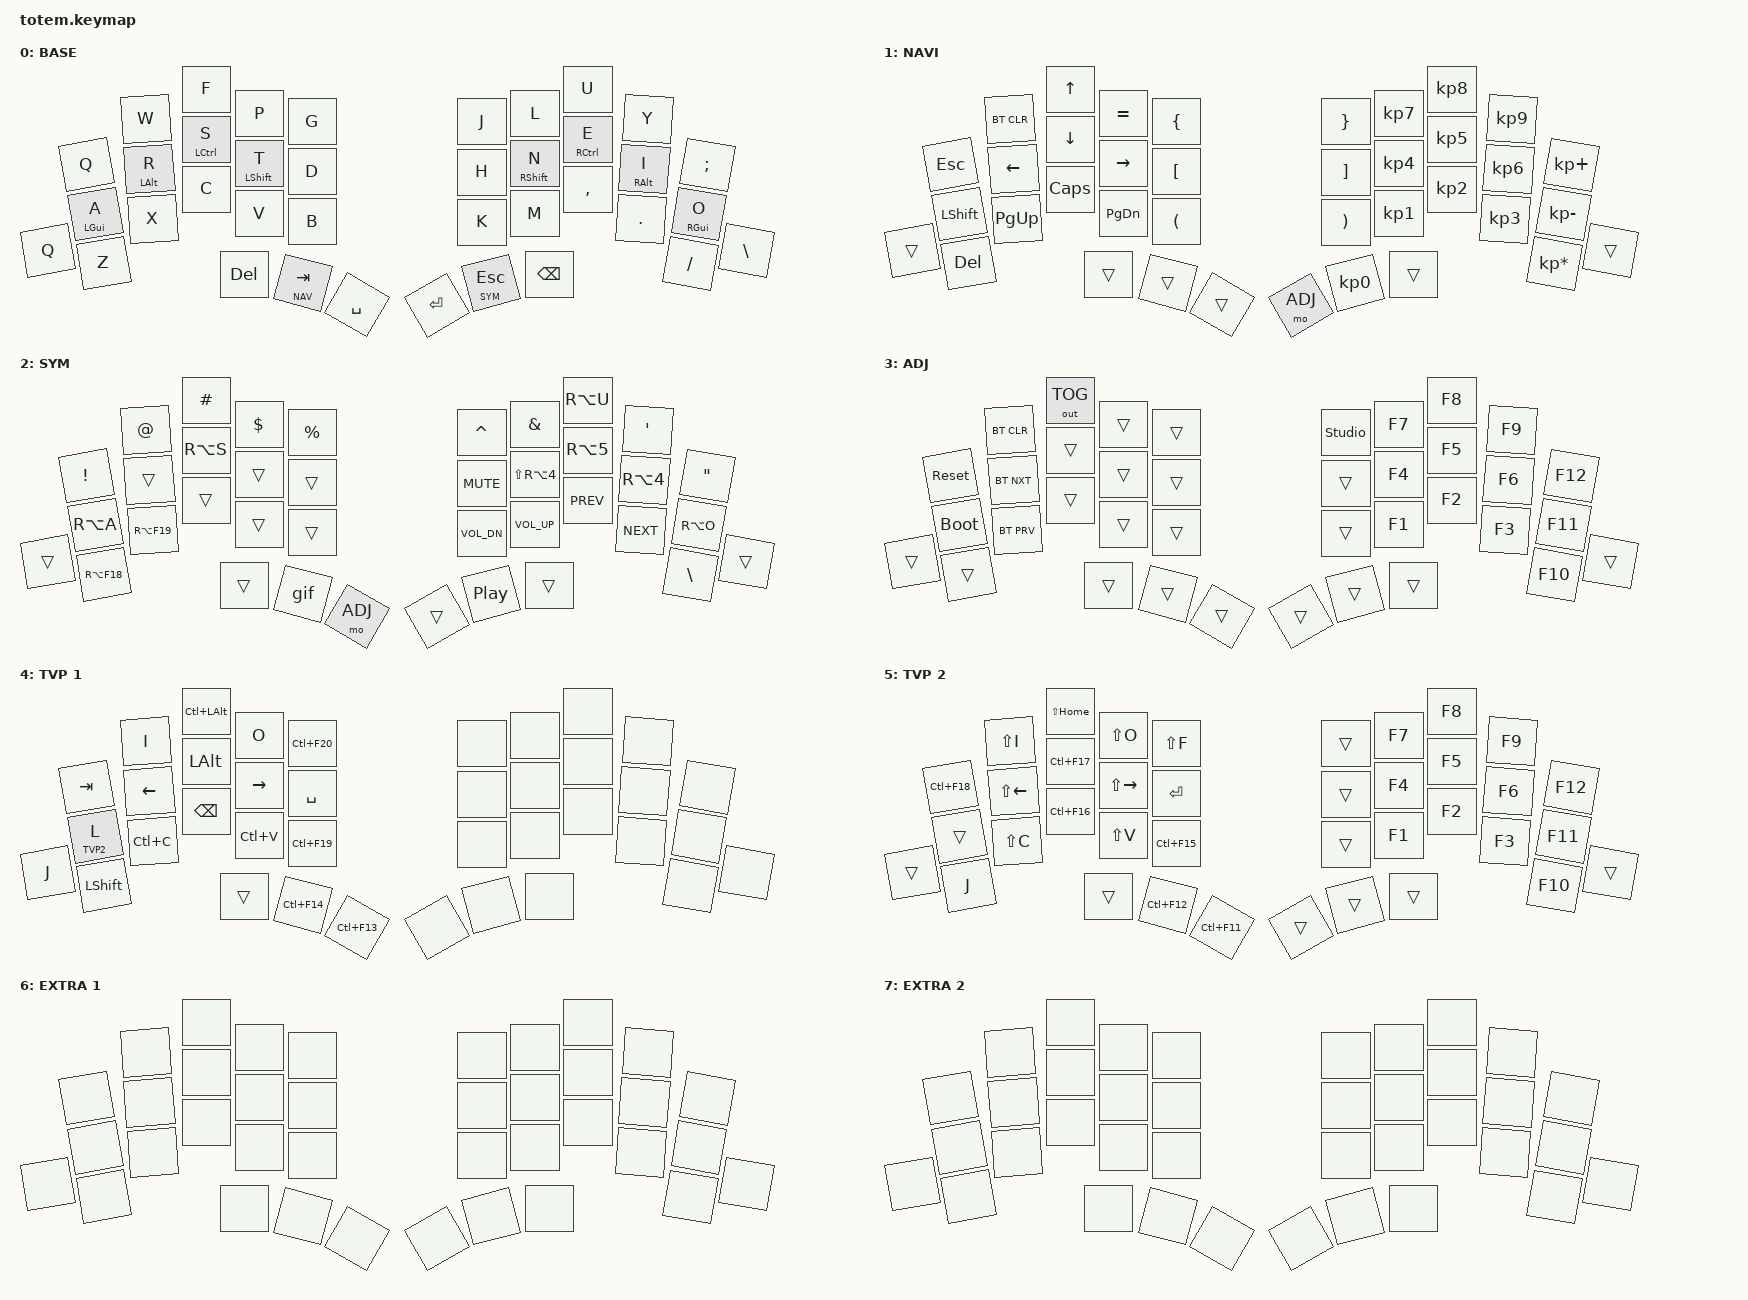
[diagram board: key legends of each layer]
//
//                                                        ▀▀▀▀▀     ▀▀▀▀▀          ▀▀█▀▀
//                                                        ▄▀▀▀▄  ▄  ▄▀▀▀▄  ▄  ▄▀▀▀▄  █  ▄▀▀▀▄
//                                                        █   █  █  █   █  █  █   █  █  █   █
//                                                         ▀▀▀   █   ▀▀▀   █   ▀▀▀   ▀   ▀▀▀
//                                                               █      ▄▄▄█▄▄▄    █   █  
//                                                               ▀      █  █  █     █▄█
//                                                             ▀▀▀▀▀    █  █  █      ▀
//                                                                      ▀  ▀  ▀
//
// ▄▄▄▄▄▄▄▄▄▄▄▄▄▄▄▄▄▄▄▄▄▄▄▄▄▄▄▄▄▄▄▄▄▄▄▄▄▄▄▄▄▄▄▄▄▄▄▄▄▄▄▄▄▄▄▄▄▄▄▄▄▄▄▄▄▄▄▄▄▄▄▄▄▄▄▄▄▄▄▄▄▄▄▄▄▄▄▄▄▄▄▄▄▄▄▄▄▄▄▄▄▄▄▄▄▄▄▄▄▄▄▄▄▄▄▄▄▄▄▄▄▄▄▄▄▄▄▄▄▄▄▄▄▄▄▄▄▄▄▄▄▄▄▄▄▄▄▄▄
       

#include <behaviors.dtsi>
#include <dt-bindings/zmk/keys.h>
#include <dt-bindings/zmk/bt.h>
#include <dt-bindings/zmk/outputs.h>

#define BASE 0
#define NAV  1
#define SYM  2
#define ADJ  3
#define TVP1 4
#define TVP2 5
#define EXTRA1 6
#define EXTRA2 7

&mt {
  quick-tap-ms = <100>;
  global-quick-tap;
  flavor = "tap-preferred";
  tapping-term-ms = <170>;
};

/ {
     combos {
            compatible = "zmk,combos";
            combo_esc {
                timeout-ms = <50>;
                key-positions = <0 1>;
                bindings = <&kp ESC>;
            };
            combo_tvp {
                timeout-ms = <100>;
                key-positions = <11 12 13>;
                bindings = <&tog TVP1>;
            };
    };

    macros {
        gif: gif {
            label = "giphy";
            compatible = "zmk,behavior-macro";
            #binding-cells = <0>;
            bindings
                = <&macro_press &kp LSHFT>
                , <&macro_tap &kp N2>
                , <&macro_release &kp LSHFT>
                , <&macro_tap &kp G &kp I &kp F>
                ;
        };
    };

        keymap {
                compatible = "zmk,keymap";
// ▄▄▄▄▄▄▄▄▄▄▄▄▄▄▄▄▄▄▄▄▄▄▄▄▄▄▄▄▄▄▄▄▄▄▄▄▄▄▄▄▄▄▄▄▄▄▄▄▄▄▄▄▄▄▄▄▄▄▄▄▄▄▄▄▄▄▄▄▄▄▄▄▄▄▄▄▄▄▄▄▄▄▄▄▄▄▄▄▄▄▄▄▄▄▄▄▄▄▄▄▄▄▄▄▄▄▄▄▄▄▄▄▄▄▄▄▄▄▄▄▄▄▄▄▄▄▄▄▄▄▄▄▄▄▄▄▄▄▄▄▄▄▄▄▄▄▄▄▄

                base_layer {
// ┏━━━━━━━━━━━━━━━━━━━━━━━━━━━━━━━━━━━━━━━┓
label= "BASE"                              ;
// ┗━━━━━━━━━━━━━━━━━━━━━━━━━━━━━━━━━━━━━━━┛
//             ┏━━━━━━━━━━━┳━━━━━━━━━━━┳━━━━━━━━━━━┳━━━━━━━━━━━┳━━━━━━━━━━━┓   ┏━━━━━━━━━━━┳━━━━━━━━━━━┳━━━━━━━━━━━┳━━━━━━━━━━━┳━━━━━━━━━━━┓
//             ┃     Q     ┃     W     ┃     F     ┃     P     ┃     G     ┃   ┃     J     ┃     L     ┃     U     ┃     Y     ┃     ;     ┃
//             ┣━━━━━━━━━━━╋━━━━━━━━━━━╋━━━━━━━━━━━╋━━━━━━━━━━━╋━━━━━━━━━━━┫   ┣━━━━━━━━━━━╋━━━━━━━━━━━╋━━━━━━━━━━━╋━━━━━━━━━━━╋━━━━━━━━━━━┫
//             ┃     A     ┃     R     ┃     S     ┃     T     ┃     D     ┃   ┃     H     ┃     N     ┃     E     ┃     I     ┃     O     ┃
// ┏━━━━━━━━━━━╋━━━━━━━━━━━╋━━━━━━━━━━━╋━━━━━━━━━━━╋━━━━━━━━━━━╋━━━━━━━━━━━┫   ┣━━━━━━━━━━━╋━━━━━━━━━━━╋━━━━━━━━━━━╋━━━━━━━━━━━╋━━━━━━━━━━━╋━━━━━━━━━━━┓
// ┃     Q     ┃     Z     ┃     X     ┃     C     ┃     V     ┃     B     ┃   ┃     K     ┃     M     ┃     ,     ┃     .     ┃     /     ┃     \     ┃
// ┗━━━━━━━━━━━┻━━━━━━━━━━━┻━━━━━━━━━━━╋━━━━━━━━━━━╋━━━━━━━━━━━╋━━━━━━━━━━━┫   ┣━━━━━━━━━━━╋━━━━━━━━━━━╋━━━━━━━━━━━╋━━━━━━━━━━━┻━━━━━━━━━━━┻━━━━━━━━━━━┛
//                                     ┃    DEL    ┃    TAB    ┃    SPC    ┃   ┃   ENTER   ┃           ┃   BSPC    ┃
//                                     ┗━━━━━━━━━━━┻━━━━━━━━━━━┻━━━━━━━━━━━┛   ┗━━━━━━━━━━━┻━━━━━━━━━━━┻━━━━━━━━━━━┛
 bindings = <
// ╷           ╷           ╷           ╷           ╷           ╷           ╷   ╷           ╷           ╷           ╷           ╷           ╷           ╷

                &kp Q       &kp W       &kp F       &kp P       &kp G           &kp J       &kp L       &kp U       &kp Y       &kp SEMI
                &mt LGUI A  &mt LALT R  &mt LCTRL S &mt LSHFT T &kp D           &kp H       &mt RSHFT N &mt RCTRL E &mt RALT I  &mt RGUI O
    &kp Q       &kp Z       &kp X       &kp C       &kp V       &kp B           &kp K       &kp M       &kp COMMA   &kp DOT     &kp FSLH    &kp BSLH
                                        &kp DEL   &lt NAV TAB   &kp SPACE       &kp RET   &lt SYM ESC   &kp BSPC
                        >;
                };

// ▄▄▄▄▄▄▄▄▄▄▄▄▄▄▄▄▄▄▄▄▄▄▄▄▄▄▄▄▄▄▄▄▄▄▄▄▄▄▄▄▄▄▄▄▄▄▄▄▄▄▄▄▄▄▄▄▄▄▄▄▄▄▄▄▄▄▄▄▄▄▄▄▄▄▄▄▄▄▄▄▄▄▄▄▄▄▄▄▄▄▄▄▄▄▄▄▄▄▄▄▄▄▄▄▄▄▄▄▄▄▄▄▄▄▄▄▄▄▄▄▄▄▄▄▄▄▄▄▄▄▄▄▄▄▄▄▄▄▄▄▄▄▄▄▄▄▄▄▄


                nav_layer {
// ┏━━━━━━━━━━━━━━━━━━━━━━━━━━━━━━━━━━━━━━━┓
label= "NAVI"                              ;
// ┗━━━━━━━━━━━━━━━━━━━━━━━━━━━━━━━━━━━━━━━┛
//             ┏━━━━━━━━━━━┳━━━━━━━━━━━┳━━━━━━━━━━━┳━━━━━━━━━━━┳━━━━━━━━━━━┓   ┏━━━━━━━━━━━┳━━━━━━━━━━━┳━━━━━━━━━━━┳━━━━━━━━━━━┳━━━━━━━━━━━┓
//             ┃           ┃           ┃     UP    ┃           ┃     {     ┃   ┃     }     ┃     7     ┃     8     ┃     9     ┃     +     ┃
//             ┣━━━━━━━━━━━╋━━━━━━━━━━━╋━━━━━━━━━━━╋━━━━━━━━━━━╋━━━━━━━━━━━┫   ┣━━━━━━━━━━━╋━━━━━━━━━━━╋━━━━━━━━━━━╋━━━━━━━━━━━╋━━━━━━━━━━━┫
//             ┃   SHIFT   ┃   LEFT    ┃    DOWN   ┃   RIGHT   ┃     [     ┃   ┃     ]     ┃     4     ┃     5     ┃     6     ┃     -     ┃
// ┏━━━━━━━━━━━╋━━━━━━━━━━━╋━━━━━━━━━━━╋━━━━━━━━━━━╋━━━━━━━━━━━╋━━━━━━━━━━━┫   ┣━━━━━━━━━━━╋━━━━━━━━━━━╋━━━━━━━━━━━╋━━━━━━━━━━━╋━━━━━━━━━━━╋━━━━━━━━━━━┓
// ┃           ┃           ┃   P UP    ┃  C LOCK   ┃  P DOWN   ┃     (     ┃   ┃     )     ┃     1     ┃     2     ┃     3     ┃     *     ┃           ┃
// ┗━━━━━━━━━━━┻━━━━━━━━━━━┻━━━━━━━━━━━╋━━━━━━━━━━━╋━━━━━━━━━━━╋━━━━━━━━━━━┫   ┣━━━━━━━━━━━╋━━━━━━━━━━━╋━━━━━━━━━━━╋━━━━━━━━━━━┻━━━━━━━━━━━┻━━━━━━━━━━━┛
//                                     ┃           ┃    TAB    ┃    SPC    ┃   ┃    DEL    ┃     0     ┃           ┃
//                                     ┗━━━━━━━━━━━┻━━━━━━━━━━━┻━━━━━━━━━━━┛   ┗━━━━━━━━━━━┻━━━━━━━━━━━┻━━━━━━━━━━━┛
 bindings = <
// ╷           ╷           ╷           ╷           ╷           ╷           ╷   ╷           ╷           ╷           ╷           ╷           ╷           ╷

                &kp ESC     &bt BT_CLR  &kp UP      &kp EQUAL   &kp LBRC        &kp RBRC    &kp KP_N7   &kp KP_N8   &kp KP_N9   &kp KP_PLUS
                &kp LSHFT   &kp LEFT    &kp DOWN    &kp RIGHT   &kp LBKT        &kp RBKT    &kp KP_N4   &kp KP_N5   &kp KP_N6   &kp KP_MINUS
    &trans      &kp DEL     &kp PG_UP   &kp CAPS    &kp PG_DN   &kp LPAR        &kp RPAR    &kp KP_N1   &kp KP_N2   &kp KP_N3   &kp KP_MULTIPLY &trans      
                                        &trans      &trans      &trans          &mo ADJ     &kp KP_N0   &trans      
                        >;
                };

// ▄▄▄▄▄▄▄▄▄▄▄▄▄▄▄▄▄▄▄▄▄▄▄▄▄▄▄▄▄▄▄▄▄▄▄▄▄▄▄▄▄▄▄▄▄▄▄▄▄▄▄▄▄▄▄▄▄▄▄▄▄▄▄▄▄▄▄▄▄▄▄▄▄▄▄▄▄▄▄▄▄▄▄▄▄▄▄▄▄▄▄▄▄▄▄▄▄▄▄▄▄▄▄▄▄▄▄▄▄▄▄▄▄▄▄▄▄▄▄▄▄▄▄▄▄▄▄▄▄▄▄▄▄▄▄▄▄▄▄▄▄▄▄▄▄▄▄▄▄


                sim_layer {
// ┏━━━━━━━━━━━━━━━━━━━━━━━━━━━━━━━━━━━━━━━┓
label= "SYM"                               ;
// ┗━━━━━━━━━━━━━━━━━━━━━━━━━━━━━━━━━━━━━━━┛
//             ┏━━━━━━━━━━━┳━━━━━━━━━━━┳━━━━━━━━━━━┳━━━━━━━━━━━┳━━━━━━━━━━━┓   ┏━━━━━━━━━━━┳━━━━━━━━━━━┳━━━━━━━━━━━┳━━━━━━━━━━━┳━━━━━━━━━━━┓
//             ┃     !     ┃     @     ┃     #     ┃     $     ┃     %     ┃   ┃     ˆ     ┃     &     ┃     Ü     ┃     '     ┃     "     ┃
//             ┣━━━━━━━━━━━╋━━━━━━━━━━━╋━━━━━━━━━━━╋━━━━━━━━━━━╋━━━━━━━━━━━┫   ┣━━━━━━━━━━━╋━━━━━━━━━━━╋━━━━━━━━━━━╋━━━━━━━━━━━╋━━━━━━━━━━━┫
//             ┃     Ä     ┃           ┃    SZ     ┃           ┃           ┃   ┃   MUTE    ┃   YEN     ┃   EURO    ┃  POUND    ┃     Ö     ┃
// ┏━━━━━━━━━━━╋━━━━━━━━━━━╋━━━━━━━━━━━╋━━━━━━━━━━━╋━━━━━━━━━━━╋━━━━━━━━━━━┫   ┣━━━━━━━━━━━╋━━━━━━━━━━━╋━━━━━━━━━━━╋━━━━━━━━━━━╋━━━━━━━━━━━╋━━━━━━━━━━━┓
// ┃           ┃  EMAIL1   ┃  EMAIL2   ┃           ┃           ┃           ┃   ┃   VOL-    ┃   VOL+    ┃   LAST    ┃   NEXT    ┃     \     ┃           ┃
// ┗━━━━━━━━━━━┻━━━━━━━━━━━┻━━━━━━━━━━━╋━━━━━━━━━━━╋━━━━━━━━━━━╋━━━━━━━━━━━┫   ┣━━━━━━━━━━━╋━━━━━━━━━━━╋━━━━━━━━━━━╋━━━━━━━━━━━┻━━━━━━━━━━━┻━━━━━━━━━━━┛
//                                     ┃           ┃    GIF    ┃    ADJ    ┃   ┃           ┃           ┃           ┃
//                                     ┗━━━━━━━━━━━┻━━━━━━━━━━━┻━━━━━━━━━━━┛   ┗━━━━━━━━━━━┻━━━━━━━━━━━┻━━━━━━━━━━━┛
 bindings = <
// ╷           ╷           ╷           ╷           ╷           ╷           ╷   ╷           ╷           ╷           ╷           ╷           ╷           ╷

                &kp EXCL    &kp AT      &kp HASH    &kp DLLR    &kp PRCNT       &kp CARET   &kp AMPS    &kp RA(U)   &kp SQT     &kp DQT       
                &kp RA(A)   &trans      &kp RA(S)   &trans      &trans          &kp C_MUTE  &kp LS(RA(N4)) &kp RA(N5) &kp RA(N4)   &kp RA(O) 
    &trans      &kp RA(F18) &kp RA(F19) &trans      &trans      &trans          &kp C_VOL_DN &kp C_VOL_UP &kp C_PREV &kp C_NEXT  &kp BSLH   &trans         
                                        &trans      &gif        &mo ADJ         &trans      &kp C_PP    &trans      
                        >;
                };

// ▄▄▄▄▄▄▄▄▄▄▄▄▄▄▄▄▄▄▄▄▄▄▄▄▄▄▄▄▄▄▄▄▄▄▄▄▄▄▄▄▄▄▄▄▄▄▄▄▄▄▄▄▄▄▄▄▄▄▄▄▄▄▄▄▄▄▄▄▄▄▄▄▄▄▄▄▄▄▄▄▄▄▄▄▄▄▄▄▄▄▄▄▄▄▄▄▄▄▄▄▄▄▄▄▄▄▄▄▄▄▄▄▄▄▄▄▄▄▄▄▄▄▄▄▄▄▄▄▄▄▄▄▄▄▄▄▄▄▄▄▄▄▄▄▄▄▄▄▄


                adjust_layer {
// ┏━━━━━━━━━━━━━━━━━━━━━━━━━━━━━━━━━━━━━━━┓
label= "ADJ"                               ;
// ┗━━━━━━━━━━━━━━━━━━━━━━━━━━━━━━━━━━━━━━━┛
//             ┏━━━━━━━━━━━┳━━━━━━━━━━━┳━━━━━━━━━━━┳━━━━━━━━━━━┳━━━━━━━━━━━┓   ┏━━━━━━━━━━━┳━━━━━━━━━━━┳━━━━━━━━━━━┳━━━━━━━━━━━┳━━━━━━━━━━━┓
//             ┃   RESET   ┃ BT CLEAR  ┃  OUT TOG  ┃           ┃           ┃   ┃           ┃    F7     ┃    F8     ┃    F9     ┃    F12    ┃
//             ┣━━━━━━━━━━━╋━━━━━━━━━━━╋━━━━━━━━━━━╋━━━━━━━━━━━╋━━━━━━━━━━━┫   ┣━━━━━━━━━━━╋━━━━━━━━━━━╋━━━━━━━━━━━╋━━━━━━━━━━━╋━━━━━━━━━━━┫
//             ┃ BOOTLOAD  ┃ BT NEXT   ┃           ┃           ┃           ┃   ┃           ┃    F4     ┃    F5     ┃    F6     ┃    F11    ┃
// ┏━━━━━━━━━━━╋━━━━━━━━━━━╋━━━━━━━━━━━╋━━━━━━━━━━━╋━━━━━━━━━━━╋━━━━━━━━━━━┫   ┣━━━━━━━━━━━╋━━━━━━━━━━━╋━━━━━━━━━━━╋━━━━━━━━━━━╋━━━━━━━━━━━╋━━━━━━━━━━━┓
// ┃           ┃           ┃ BT PREV   ┃           ┃           ┃           ┃   ┃           ┃    F1     ┃    F2     ┃    F3     ┃    F10    ┃           ┃
// ┗━━━━━━━━━━━┻━━━━━━━━━━━┻━━━━━━━━━━━╋━━━━━━━━━━━╋━━━━━━━━━━━╋━━━━━━━━━━━┫   ┣━━━━━━━━━━━╋━━━━━━━━━━━╋━━━━━━━━━━━╋━━━━━━━━━━━┻━━━━━━━━━━━┻━━━━━━━━━━━┛
//                                     ┃           ┃           ┃           ┃   ┃           ┃           ┃           ┃
//                                     ┗━━━━━━━━━━━┻━━━━━━━━━━━┻━━━━━━━━━━━┛   ┗━━━━━━━━━━━┻━━━━━━━━━━━┻━━━━━━━━━━━┛
 bindings = <
// ╷           ╷           ╷           ╷           ╷           ╷           ╷   ╷           ╷           ╷           ╷           ╷           ╷           ╷

                &sys_reset  &bt BT_CLR &out OUT_TOG &trans      &trans          &studio_unlock &kp F7   &kp F8      &kp F9      &kp F12
                &bootloader &bt BT_NXT  &trans      &trans      &trans          &trans      &kp F4      &kp F5      &kp F6      &kp F11  
    &trans      &trans      &bt BT_PRV  &trans      &trans      &trans          &trans      &kp F1      &kp F2      &kp F3      &kp F10     &trans         
                                        &trans      &trans      &trans          &trans      &trans      &trans      
                        >;
                };

// ▄▄▄▄▄▄▄▄▄▄▄▄▄▄▄▄▄▄▄▄▄▄▄▄▄▄▄▄▄▄▄▄▄▄▄▄▄▄▄▄▄▄▄▄▄▄▄▄▄▄▄▄▄▄▄▄▄▄▄▄▄▄▄▄▄▄▄▄▄▄▄▄▄▄▄▄▄▄▄▄▄▄▄▄▄▄▄▄▄▄▄▄▄▄▄▄▄▄▄▄▄▄▄▄▄▄▄▄▄▄▄▄▄▄▄▄▄▄▄▄▄▄▄▄▄▄▄▄▄▄▄▄▄▄▄▄▄▄▄▄▄▄▄▄▄▄▄▄▄


                tvp1_layer {
// ┏━━━━━━━━━━━━━━━━━━━━━━━━━━━━━━━━━━━━━━━┓
label= "TVP 1"                             ;
// ┗━━━━━━━━━━━━━━━━━━━━━━━━━━━━━━━━━━━━━━━┛
//             ┏━━━━━━━━━━━┳━━━━━━━━━━━┳━━━━━━━━━━━┳━━━━━━━━━━━┳━━━━━━━━━━━┓   ┏━━━━━━━━━━━┳━━━━━━━━━━━┳━━━━━━━━━━━┳━━━━━━━━━━━┳━━━━━━━━━━━┓
//             ┃ NEXT FILE ┃ MARK IN   ┃ ROTATE    ┃ MARK OUT  ┃ SHOW SNAP ┃   ┃           ┃           ┃           ┃           ┃           ┃
//             ┣━━━━━━━━━━━╋━━━━━━━━━━━╋━━━━━━━━━━━╋━━━━━━━━━━━╋━━━━━━━━━━━┫   ┣━━━━━━━━━━━╋━━━━━━━━━━━╋━━━━━━━━━━━╋━━━━━━━━━━━╋━━━━━━━━━━━┫
//             ┃ TVP II    ┃ LEFT      ┃ PAN       ┃ RIGHT     ┃ PLAY/FLIP ┃   ┃           ┃           ┃           ┃           ┃           ┃
// ┏━━━━━━━━━━━╋━━━━━━━━━━━╋━━━━━━━━━━━╋━━━━━━━━━━━╋━━━━━━━━━━━╋━━━━━━━━━━━┫   ┣━━━━━━━━━━━╋━━━━━━━━━━━╋━━━━━━━━━━━╋━━━━━━━━━━━╋━━━━━━━━━━━╋━━━━━━━━━━━┓
// ┃ FULLSCR   ┃ SHIFT     ┃ COPY      ┃ DELETE    ┃ PASTE     ┃ IMG MARK  ┃   ┃           ┃           ┃           ┃           ┃           ┃           ┃
// ┗━━━━━━━━━━━┻━━━━━━━━━━━┻━━━━━━━━━━━╋━━━━━━━━━━━╋━━━━━━━━━━━╋━━━━━━━━━━━┫   ┣━━━━━━━━━━━╋━━━━━━━━━━━╋━━━━━━━━━━━╋━━━━━━━━━━━┻━━━━━━━━━━━┻━━━━━━━━━━━┛
//                                     ┃           ┃ UNDO/SAVE ┃  SEL/MOV  ┃   ┃           ┃           ┃           ┃
//                                     ┗━━━━━━━━━━━┻━━━━━━━━━━━┻━━━━━━━━━━━┛   ┗━━━━━━━━━━━┻━━━━━━━━━━━┻━━━━━━━━━━━┛
 bindings = <
// ╷           ╷           ╷           ╷           ╷           ╷           ╷   ╷           ╷           ╷           ╷           ╷           ╷           ╷

                &kp TAB     &kp I       &kp LC(LALT) &kp O      &kp LC(F20)     &none       &none       &none       &none       &none
                &lt TVP2 L  &kp LEFT    &kp LALT    &kp RIGHT   &kp SPACE       &none       &none       &none       &none       &none
    &kp J       &kp LSHFT   &kp LC(C)   &kp BSPC    &kp LC(V)   &kp LC(F19)     &none       &none       &none       &none       &none       &none        
                                        &trans      &kp LC(F14) &kp LC(F13)     &none       &none       &none    
                        >;
                };

// ▄▄▄▄▄▄▄▄▄▄▄▄▄▄▄▄▄▄▄▄▄▄▄▄▄▄▄▄▄▄▄▄▄▄▄▄▄▄▄▄▄▄▄▄▄▄▄▄▄▄▄▄▄▄▄▄▄▄▄▄▄▄▄▄▄▄▄▄▄▄▄▄▄▄▄▄▄▄▄▄▄▄▄▄▄▄▄▄▄▄▄▄▄▄▄▄▄▄▄▄▄▄▄▄▄▄▄▄▄▄▄▄▄▄▄▄▄▄▄▄▄▄▄▄▄▄▄▄▄▄▄▄▄▄▄▄▄▄▄▄▄▄▄▄▄▄▄▄▄


                tvp2_layer {
// ┏━━━━━━━━━━━━━━━━━━━━━━━━━━━━━━━━━━━━━━━┓
label= "TVP 2"                             ;
// ┗━━━━━━━━━━━━━━━━━━━━━━━━━━━━━━━━━━━━━━━┛
//             ┏━━━━━━━━━━━┳━━━━━━━━━━━┳━━━━━━━━━━━┳━━━━━━━━━━━┳━━━━━━━━━━━┓   ┏━━━━━━━━━━━┳━━━━━━━━━━━┳━━━━━━━━━━━┳━━━━━━━━━━━┳━━━━━━━━━━━┓
//             ┃ SOLO      ┃ TOGGLE IN ┃ RESET ROT ┃ TOGGLE OUT┃ TAKE SNAP ┃   ┃           ┃           ┃           ┃           ┃           ┃
//             ┣━━━━━━━━━━━╋━━━━━━━━━━━╋━━━━━━━━━━━╋━━━━━━━━━━━╋━━━━━━━━━━━┫   ┣━━━━━━━━━━━╋━━━━━━━━━━━╋━━━━━━━━━━━╋━━━━━━━━━━━╋━━━━━━━━━━━┫
//             ┃ ---       ┃ LAST KEY  ┃ NEW KEY   ┃ NEXT KEY  ┃ ENTER     ┃   ┃           ┃           ┃           ┃           ┃           ┃
// ┏━━━━━━━━━━━╋━━━━━━━━━━━╋━━━━━━━━━━━╋━━━━━━━━━━━╋━━━━━━━━━━━╋━━━━━━━━━━━┫   ┣━━━━━━━━━━━╋━━━━━━━━━━━╋━━━━━━━━━━━╋━━━━━━━━━━━╋━━━━━━━━━━━╋━━━━━━━━━━━┓
// ┃           ┃ FULLSCR   ┃ CPY2BRUSH ┃ DEL HEAD  ┃ PSTinPLACE┃ BOOK MARK ┃   ┃           ┃           ┃           ┃           ┃           ┃           ┃
// ┗━━━━━━━━━━━┻━━━━━━━━━━━┻━━━━━━━━━━━╋━━━━━━━━━━━╋━━━━━━━━━━━╋━━━━━━━━━━━┫   ┣━━━━━━━━━━━╋━━━━━━━━━━━╋━━━━━━━━━━━╋━━━━━━━━━━━┻━━━━━━━━━━━┻━━━━━━━━━━━┛
//                                     ┃           ┃ REDO/SAV1 ┃TRANS/WARP ┃   ┃           ┃           ┃           ┃
//                                     ┗━━━━━━━━━━━┻━━━━━━━━━━━┻━━━━━━━━━━━┛   ┗━━━━━━━━━━━┻━━━━━━━━━━━┻━━━━━━━━━━━┛
 bindings = <
// ╷           ╷           ╷           ╷           ╷           ╷           ╷   ╷           ╷           ╷           ╷           ╷           ╷           ╷

                &kp LC(F18) &kp LS(I)  &kp LS(HOME) &kp LS(O)   &kp LS(F)       &trans      &kp F7      &kp F8      &kp F9      &kp F12
                &trans      &kp LS(LEFT) &kp LC(F17) &kp LS(RIGHT) &kp RET      &trans      &kp F4      &kp F5      &kp F6      &kp F11  
    &trans      &kp J       &kp LS(C)   &kp LC(F16) &kp LS(V)   &kp LC(F15)     &trans      &kp F1      &kp F2      &kp F3      &kp F10     &trans         
                                        &trans      &kp LC(F12) &kp LC(F11)     &trans      &trans      &trans
                        >;
                };

// ▄▄▄▄▄▄▄▄▄▄▄▄▄▄▄▄▄▄▄▄▄▄▄▄▄▄▄▄▄▄▄▄▄▄▄▄▄▄▄▄▄▄▄▄▄▄▄▄▄▄▄▄▄▄▄▄▄▄▄▄▄▄▄▄▄▄▄▄▄▄▄▄▄▄▄▄▄▄▄▄▄▄▄▄▄▄▄▄▄▄▄▄▄▄▄▄▄▄▄▄▄▄▄▄▄▄▄▄▄▄▄▄▄▄▄▄▄▄▄▄▄▄▄▄▄▄▄▄▄▄▄▄▄▄▄▄▄▄▄▄▄▄▄▄▄▄▄▄▄

                extra1_layer {
// ┏━━━━━━━━━━━━━━━━━━━━━━━━━━━━━━━━━━━━━━━┓
label= "EXTRA 1"                           ;
// ┗━━━━━━━━━━━━━━━━━━━━━━━━━━━━━━━━━━━━━━━┛
 bindings = <
                &none &none &none &none &none    &none &none &none &none &none
                &none &none &none &none &none    &none &none &none &none &none
    &none       &none &none &none &none &none    &none &none &none &none &none &none
                            &none &none &none    &none &none &none
                >;
        };

// ▄▄▄▄▄▄▄▄▄▄▄▄▄▄▄▄▄▄▄▄▄▄▄▄▄▄▄▄▄▄▄▄▄▄▄▄▄▄▄▄▄▄▄▄▄▄▄▄▄▄▄▄▄▄▄▄▄▄▄▄▄▄▄▄▄▄▄▄▄▄▄▄▄▄▄▄▄▄▄▄▄▄▄▄▄▄▄▄▄▄▄▄▄▄▄▄▄▄▄▄▄▄▄▄▄▄▄▄▄▄▄▄▄▄▄▄▄▄▄▄▄▄▄▄▄▄▄▄▄▄▄▄▄▄▄▄▄▄▄▄▄▄▄▄▄▄▄▄▄

                extra2_layer {
// ┏━━━━━━━━━━━━━━━━━━━━━━━━━━━━━━━━━━━━━━━┓
label= "EXTRA 2"                           ;
// ┗━━━━━━━━━━━━━━━━━━━━━━━━━━━━━━━━━━━━━━━┛
 bindings = <
                &none &none &none &none &none    &none &none &none &none &none
                &none &none &none &none &none    &none &none &none &none &none
    &none       &none &none &none &none &none    &none &none &none &none &none &none
                            &none &none &none    &none &none &none
                >;
        };
        };
};
